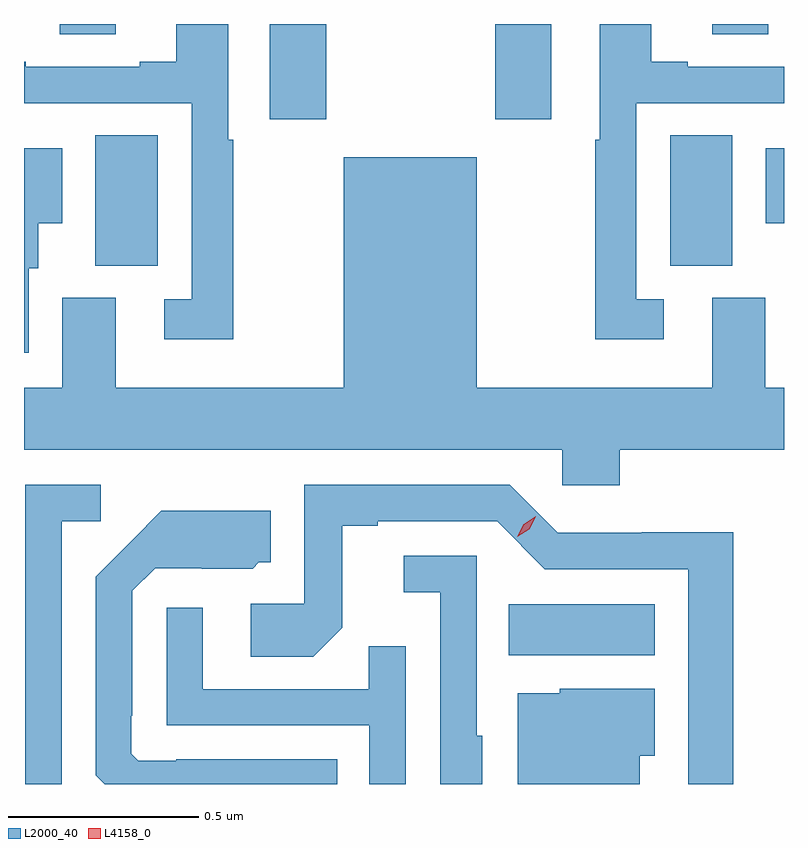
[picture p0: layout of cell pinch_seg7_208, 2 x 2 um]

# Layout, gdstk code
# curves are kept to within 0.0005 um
import gdstk
lib = gdstk.Library(unit=1e-6, precision=1e-09)
def R(c, l, rs):  # rectangles x0, y0, x1, y1
    for r in rs: c.add(gdstk.rectangle(r[:2], r[2:], *l))
def P(c, l, *ps):  # polygons
    for p in ps: c.add(gdstk.Polygon(p, *l))
L2000_40 = (2000, 40)
L4158_0 = (4158, 0)

pinch_seg7_208 = lib.new_cell('pinch_seg7_208')
R(pinch_seg7_208, L2000_40, [(1079.314,1002.74,1079.698,1002.874), (1078.226,1003.765,1078.39,1004.108), (1079.738,1003.765,1079.902,1004.108), (1079.99,1003.877,1080.038,1004.074), (1078.685,1004.151,1078.833,1004.401), (1079.278,1004.151,1079.425,1004.401), (1078.132,1004.374,1078.279,1004.401), (1079.849,1004.374,1079.997,1004.401)])
P(pinch_seg7_208, L2000_40, [(1079.722,1003.677),(1079.649,1003.677),(1079.649,1004.193),(1080.038,1004.193),(1080.038,1004.289),(1079.785,1004.289),(1079.785,1004.302),(1079.689,1004.302),(1079.689,1004.401),(1079.553,1004.401),(1079.553,1004.096),(1079.541,1004.096),(1079.541,1003.572),(1079.722,1003.572)],
  [(1078.588,1004.096),(1078.575,1004.096),(1078.575,1004.401),(1078.439,1004.401),(1078.439,1004.302),(1078.343,1004.302),(1078.343,1004.289),(1078.043,1004.289),(1078.043,1004.302),(1078.038,1004.302),(1078.038,1004.193),(1078.479,1004.193),(1078.479,1003.677),(1078.407,1003.677),(1078.407,1003.572),(1078.588,1003.572)],
  [(1078.05,1003.758),(1078.075,1003.758),(1078.075,1003.877),(1078.138,1003.877),(1078.138,1004.074),(1078.038,1004.074),(1078.038,1003.536),(1078.05,1003.536)],
  [(1079.606,1003.28),(1080.038,1003.28),(1080.038,1003.444),(1079.989,1003.444),(1079.989,1003.68),(1079.849,1003.68),(1079.849,1003.444),(1079.23,1003.444),(1079.23,1004.05),(1078.88,1004.05),(1078.88,1003.444),(1078.279,1003.444),(1078.279,1003.68),(1078.139,1003.68),(1078.139,1003.444),(1078.038,1003.444),(1078.038,1003.28),(1079.454,1003.28),(1079.454,1003.187),(1079.606,1003.187)],
  [(1078.137,1003.092),(1078.24,1003.092),(1078.24,1003.188),(1078.041,1003.188),(1078.041,1002.401),(1078.137,1002.401)],
  [(1079.905,1003.064),(1079.664,1003.064),(1079.664,1003.062),(1079.442,1003.062),(1079.316,1003.188),(1078.776,1003.188),(1078.776,1002.876),(1078.635,1002.876),(1078.635,1002.736),(1078.799,1002.736),(1078.875,1002.812),(1078.875,1003.08),(1078.969,1003.08),(1078.969,1003.092),(1079.283,1003.092),(1079.409,1002.966),(1079.786,1002.966),(1079.786,1002.401),(1079.905,1002.401)],
  [(1078.862,1002.466),(1078.438,1002.466),(1078.438,1002.462),(1078.338,1002.462),(1078.32,1002.48),(1078.32,1002.58),(1078.323,1002.58),(1078.323,1002.909),(1078.383,1002.969),(1078.506,1002.969),(1078.506,1002.968),(1078.64,1002.968),(1078.656,1002.984),(1078.687,1002.984),(1078.687,1003.12),(1078.399,1003.12),(1078.227,1002.946),(1078.227,1002.424),(1078.25,1002.401),(1078.862,1002.401)],
  [(1079.244,1002.528),(1079.229,1002.528),(1079.229,1003.002),(1079.037,1003.002),(1079.037,1002.905),(1079.133,1002.905),(1079.133,1002.401),(1079.244,1002.401)],
  [(1079.043,1002.764),(1078.945,1002.764),(1078.945,1002.651),(1078.509,1002.651),(1078.509,1002.865),(1078.413,1002.865),(1078.413,1002.555),(1078.947,1002.555),(1078.947,1002.401),(1079.043,1002.401)],
  [(1079.659,1002.476),(1079.698,1002.476),(1079.698,1002.652),(1079.448,1002.652),(1079.448,1002.64),(1079.337,1002.64),(1079.337,1002.401),(1079.659,1002.401)])
P(pinch_seg7_208, L4158_0, [(1079.336,1003.052),(1079.336,1003.052),(1079.353,1003.085),(1079.385,1003.105),(1079.385,1003.105),(1079.385,1003.104),(1079.368,1003.071),(1079.336,1003.052)])

lib.write_gds('pinch_seg7_208.gds')
